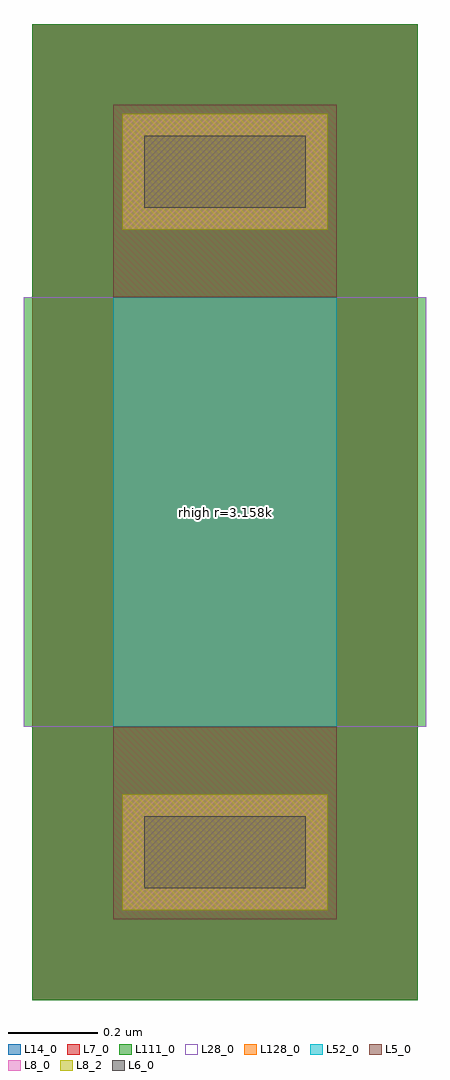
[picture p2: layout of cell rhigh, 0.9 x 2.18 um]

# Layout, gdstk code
import gdstk
lib = gdstk.Library(unit=1e-6, precision=1e-09)
def R(c, l, rs):  # rectangles x0, y0, x1, y1
    for r in rs: c.add(gdstk.rectangle(r[:2], r[2:], *l))
L5_0 = (5, 0)
L6_0 = (6, 0)
L7_0 = (7, 0)
L8_0 = (8, 0)
L8_2 = (8, 2)
L14_0 = (14, 0)
L28_0 = (28, 0)
L52_0 = (52, 0)
L111_0 = (111, 0)
L128_0 = (128, 0)

rhigh = lib.new_cell('rhigh')
R(rhigh, L5_0, [(0,-0.43,0.5,0), (0,-0.43,0.5,0), (0,0.96,0.5,1.39), (0,0.96,0.5,1.39)])
R(rhigh, L6_0, [(0.07,-0.36,0.43,-0.2), (0.07,-0.36,0.43,-0.2), (0.07,1.16,0.43,1.32), (0.07,1.16,0.43,1.32)])
R(rhigh, L7_0, [(-0.18,-0.61,0.68,0.18), (-0.18,-0.61,0.68,0.18), (-0.18,0,0.68,0.96), (-0.18,0,0.68,0.96), (-0.18,0,0.68,0.96), (-0.18,0,0.68,0.96), (-0.18,0.78,0.68,1.57), (-0.18,0.78,0.68,1.57)])
R(rhigh, L8_0, [(0.02,-0.41,0.48,-0.15), (0.02,-0.41,0.48,-0.15), (0.02,1.11,0.48,1.37), (0.02,1.11,0.48,1.37)])
R(rhigh, L8_2, [(0.02,-0.41,0.48,-0.15), (0.02,-0.41,0.48,-0.15), (0.02,1.11,0.48,1.37), (0.02,1.11,0.48,1.37)])
R(rhigh, L14_0, [(-0.18,-0.61,0.68,0.18), (-0.18,-0.61,0.68,0.18), (-0.18,0,0.68,0.96), (-0.18,0,0.68,0.96), (-0.18,0,0.68,0.96), (-0.18,0,0.68,0.96), (-0.18,0.78,0.68,1.57), (-0.18,0.78,0.68,1.57)])
R(rhigh, L28_0, [(-0.2,0,0.7,0.96), (-0.2,0,0.7,0.96)])
R(rhigh, L52_0, [(0,0,0.5,0.96), (0,0,0.5,0.96)])
R(rhigh, L111_0, [(-0.18,-0.61,0.68,0.18), (-0.18,-0.61,0.68,0.18), (-0.2,0,0.7,0.96), (-0.2,0,0.7,0.96), (-0.18,0.78,0.68,1.57), (-0.18,0.78,0.68,1.57)])
R(rhigh, L128_0, [(0,0,0.5,0.96), (0,0,0.5,0.96)])
rhigh.add(gdstk.Label('rhigh r=3.158k', (0.25,0.48), layer=63, texttype=0))
rhigh.add(gdstk.Label('rhigh r=3.158k', (0.25,0.48), layer=63, texttype=0))
rhigh.add(gdstk.Label('rhigh', (0.25,0.48), layer=52, texttype=0))
rhigh.add(gdstk.Label('rhigh', (0.25,0.48), layer=52, texttype=0))

lib.write_gds('rhigh.gds')
